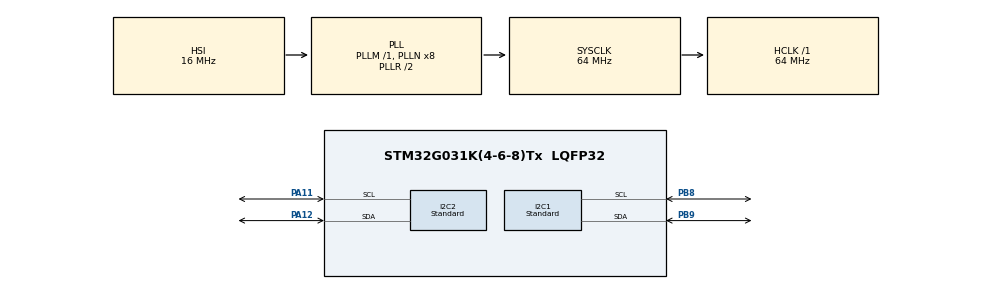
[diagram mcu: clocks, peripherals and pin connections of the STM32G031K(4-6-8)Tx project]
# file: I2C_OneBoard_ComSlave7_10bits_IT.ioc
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I2C1.AddressingMode=I2C_ADDRESSINGMODE_10BIT
I2C1.Analog_Filter=I2C_ANALOGFILTER_ENABLE
I2C1.CustomTiming=Enabled
I2C1.DualAddressMode=I2C_DUALADDRESS_DISABLE
I2C1.GeneralCallMode=I2C_GENERALCALL_DISABLE
I2C1.I2C_Speed_Mode=I2C_Standard
I2C1.NoStretchMode=I2C_NOSTRETCH_DISABLE
I2C1.OwnAddress=0
I2C1.Speed=100
I2C1.Timing=I2C_TIMING
I2C2.AddressingMode=I2C_ADDRESSINGMODE_10BIT
I2C2.Analog_Filter=I2C_ANALOGFILTER_ENABLE
I2C2.CustomTiming=Enabled
I2C2.DualAddressMode=I2C_DUALADDRESS_ENABLE
I2C2.GeneralCallMode=I2C_GENERALCALL_DISABLE
I2C2.I2C_Speed_Mode=I2C_Standard
I2C2.NoStretchMode=I2C_NOSTRETCH_DISABLE
I2C2.OwnAddress=I2C_SLAVE_ADDRESS1
I2C2.OwnAddress2=I2C_SLAVE_ADDRESS2
I2C2.OwnAddress2Masks=I2C_OA2_NOMASK
I2C2.Speed=100
I2C2.Timing=I2C_TIMING
Mcu.Family=STM32G0
Mcu.Name=STM32G031K(4-6-8)Tx
Mcu.Package=LQFP32
Mcu.UserConstants=I2C_SLAVE_ADDRESS1,0x13E;I2C_SLAVE_ADDRESS2,0xC8;I2C_TIMING,0x00A00F1B
PA11\ [PA9].GPIO_Pu=GPIO_PULLUP
PA11\ [PA9].Mode=I2C
PA11\ [PA9].Signal=I2C2_SCL
PA12\ [PA10].GPIO_Pu=GPIO_PULLUP
PA12\ [PA10].Mode=I2C
PA12\ [PA10].Signal=I2C2_SDA
PB8.GPIO_Pu=GPIO_PULLUP
PB8.Mode=I2C
PB8.Signal=I2C1_SCL
PB9.GPIO_Pu=GPIO_PULLUP
PB9.Mode=I2C
PB9.Signal=I2C1_SDA
ProjectManager.HeapSize=0x200
ProjectManager.StackSize=0x400
ProjectManager.TargetToolchain=EWARM V8.50
RCC.ADCFreq_Value=64000000
RCC.AHBFreq_Value=64000000
RCC.CortexFreq_Value=64000000
RCC.EXTERNAL_CLOCK_VALUE=48000000
RCC.HCLKFreq_Value=64000000
RCC.HSE_VALUE=8000000
RCC.HSI_VALUE=16000000
RCC.LSE_VALUE=32768
RCC.SYSCLKFreq_VALUE=64000000
RCC.SYSCLKSource=RCC_SYSCLKSOURCE_PLLCLK
RCC.VCOOutputFreq_Value=128000000
board=custom

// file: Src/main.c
/* USER CODE BEGIN Header */
/**
  ******************************************************************************
  * @file    Examples_MIX/I2C/I2C_OneBoard_ComSlave7_10bits_IT/Src/main.c
  * @author  MCD Application Team
  * @brief   This sample code shows how to use STM32G0xx I2C HAL and LL API
  *          to transmit and receive a data buffer with a communication process
  *          based on IT transfer.
  *          The communication is done using 1 Board.
  ******************************************************************************
  * @attention
  *
  * Copyright (c) 2019-2020 STMicroelectronics.
  * All rights reserved.
  *
  * This software is licensed under terms that can be found in the LICENSE file
  * in the root directory of this software component.
  * If no LICENSE file comes with this software, it is provided AS-IS.
  *
  ******************************************************************************
  */
/* USER CODE END Header */
#include "main.h"

I2C_HandleTypeDef hi2c1;
I2C_HandleTypeDef hi2c2;

/* USER CODE BEGIN PV */
/* Buffer used for transmission */
uint8_t aTxBuffer[] = " ****I2C_OneBoard communication based on IT****  ****I2C_OneBoard communication based on IT****  ****I2C_OneBoard communication based on IT**** ";

/* Buffer used for reception */
uint8_t aRxBuffer[RXBUFFERSIZE];
/* USER CODE END PV */

void SystemClock_Config(void);
static void MX_GPIO_Init(void);
static void MX_I2C1_Init(void);
static void MX_I2C2_Init(void);
/* USER CODE BEGIN PFP */
static uint16_t Buffercmp(uint8_t *pBuffer1, uint8_t *pBuffer2, uint16_t BufferLength);
static void Flush_Buffer(uint8_t* pBuffer, uint16_t BufferLength);
/* USER CODE END PFP */

int main(void)
{
  /* USER CODE BEGIN 1 */
  GPIO_InitTypeDef  GPIO_InitStruct;
  /* USER CODE END 1 */

  /* MCU Configuration--------------------------------------------------------*/

  /* Reset of all peripherals, Initializes the Flash interface and the Systick. */
  HAL_Init();

  /* Configure the system clock */
  SystemClock_Config();

  /* USER CODE BEGIN SysInit */
  /* Configure LED3 */
  BSP_LED_Init(LED3);
  /* USER CODE END SysInit */

  /* Initialize all configured peripherals */
  MX_GPIO_Init();
  MX_I2C1_Init();
  MX_I2C2_Init();
  /* USER CODE BEGIN 2 */

  /* Enable the Analog I2C Filter */
  HAL_I2CEx_ConfigAnalogFilter(&hi2c2,I2C_ANALOGFILTER_ENABLE);

  /* Enable the Analog I2C Filter */
  HAL_I2CEx_ConfigAnalogFilter(&hi2c2,I2C_ANALOGFILTER_ENABLE);

  /* Configure PA.15 (Arduino D2) */
  GPIO_InitStruct.Pin = GPIO_PIN_15;
  GPIO_InitStruct.Pull = GPIO_PULLUP;
  GPIO_InitStruct.Mode = GPIO_MODE_INPUT;
  GPIO_InitStruct.Speed = GPIO_SPEED_FREQ_VERY_HIGH;

  /* Enable GPIOA clock */
  __HAL_RCC_GPIOA_CLK_ENABLE();

  HAL_GPIO_Init(GPIOA, &GPIO_InitStruct);

  /* Wait Until PA.15 (Arduino D2) is connected to GND */
  while(HAL_GPIO_ReadPin(GPIOA, GPIO_PIN_15) != GPIO_PIN_RESET)
  {
  }
  /* Wait Until PA.15 (Arduino D2) is de-connected from GND */
  while(HAL_GPIO_ReadPin(GPIOA, GPIO_PIN_15) != GPIO_PIN_SET)
  {
  }

  /*##-3- Slave1 and Slave2 Receive process from master ####################*/
  /* Receive data through "aRxBuffer" buffer */
  while(HAL_I2C_Slave_Receive_IT(&hi2c2, (uint8_t*)&aRxBuffer, RXBUFFERSIZE)!= HAL_OK)
  {
  }

  /*##-4- Master Transmit process for Slave1 ###############################*/
  /* Transmit data through "aTxBuffer" buffer */
  while(HAL_I2C_Master_Transmit_IT(&hi2c1, (uint16_t)I2C_SLAVE_ADDRESS1, (uint8_t*)&aTxBuffer, TXBUFFERSIZE)!= HAL_OK)
  {
    /* Error_Handler() function is called when Timeout error occurs.
       When Acknowledge failure occurs (Slave don't acknowledge its address)
       Master restarts communication */
    if (HAL_I2C_GetError(&hi2c1) != HAL_I2C_ERROR_AF)
    {
      Error_Handler();
    }
  }

  /*##-5- Wait for the end of the transfer ###################################*/
  /*  Before starting a new communication transfer, you need to check the current
      state of the peripheral; if it's busy you need to wait for the end of current
      transfer before starting a new one.
      For simplicity reasons, this example is just waiting till the end of the
      transfer, but application may perform other tasks while transfer operation
      is ongoing. */
  while (HAL_I2C_GetState(&hi2c2) != HAL_I2C_STATE_READY)
  {
  }

  while (HAL_I2C_GetState(&hi2c1) != HAL_I2C_STATE_READY)
  {
  }

  /*##-6- Compare the sent and received buffers ##############################*/
  if(Buffercmp((uint8_t*)aTxBuffer, (uint8_t*)aRxBuffer, TXBUFFERSIZE))
  {
    /* Processing Error */
    Error_Handler();
  }

  /* Toggle LED3: Transfer in reception Slave1 process is correct */
  BSP_LED_Toggle(LED3);

  /* Flush Rx buffers */
  Flush_Buffer((uint8_t*)aRxBuffer,RXBUFFERSIZE);

  /* Wait Until PA.15 (Arduino D2) is connected to GND */
  while(HAL_GPIO_ReadPin(GPIOA, GPIO_PIN_15) != GPIO_PIN_RESET)
  {
  }
  /* Wait Until PA.15 (Arduino D2) is de-connected from GND */
  while(HAL_GPIO_ReadPin(GPIOA, GPIO_PIN_15) != GPIO_PIN_SET)
  {
  }

  /*##-7- Slave1 and Slave2 Transmit process for master ######################*/
  while(HAL_I2C_Slave_Transmit_IT(&hi2c2, (uint8_t*)&aTxBuffer, TXBUFFERSIZE)!= HAL_OK)
  {
  }

  /*##-8- Configure the I2C MASTER peripheral to discuss with Slave2 (7-Bit address) #*/
  /* Using LL interface, initializes directly the I2C MASTER peripheral in 7-Bit addressing mode*/
  LL_I2C_SetMasterAddressingMode(hi2c1.Instance, I2C_ADDRESSINGMODE_7BIT);

  /* Following code sequence is needed in order to keep I2C handle structure          */
  /* content in line with IP configuration                                            */
  hi2c1.Init.AddressingMode  = I2C_ADDRESSINGMODE_7BIT;

  /* Using HAL interface, following interface must be used :                          */
  /*  - HAL_I2C_DeInit() then HAL_I2C_Init() to deInitializes then Initializes        */
  /*  the I2C MASTER peripheral to perform an update of AddressingMode Init parameter */

  /*##-9- Put I2C peripheral in Reception process from Slave 2 ###############*/
  while(HAL_I2C_Master_Receive_IT(&hi2c1, (uint16_t)I2C_SLAVE_ADDRESS2, (uint8_t*)&aRxBuffer, TXBUFFERSIZE)!= HAL_OK)
  {
    /* Error_Handler() function is called when Timeout error occurs.
       When Acknowledge failure occurs (Slave don't acknowledge its address)
       Master restarts communication */
    if (HAL_I2C_GetError(&hi2c1) != HAL_I2C_ERROR_AF)
    {
      Error_Handler();
    }
  }

  /*##-10- Wait for the end of the transfer ##################################*/
  /*  Before starting a new communication transfer, you need to check the current
      state of the peripheral; if it's busy you need to wait for the end of current
      transfer before starting a new one.
      For simplicity reasons, this example is just waiting till the end of the
      transfer, but application may perform other tasks while transfer operation
      is ongoing. */
  while (HAL_I2C_GetState(&hi2c2) != HAL_I2C_STATE_READY)
  {
  }

  while (HAL_I2C_GetState(&hi2c1) != HAL_I2C_STATE_READY)
  {
  }

  /*##-11- Compare the sent and received buffers #############################*/
  if(Buffercmp((uint8_t*)aTxBuffer, (uint8_t*)aRxBuffer, TXBUFFERSIZE))
  {
    /* Processing Error */
    Error_Handler();
  }

  /* Toggle LED3: Transfer in Slave2 transmission process is correct */
  BSP_LED_Toggle(LED3);
  /* USER CODE END 2 */

  /* Infinite loop */
  while (1)
  {

  }
}

void SystemClock_Config(void)
{
  RCC_OscInitTypeDef RCC_OscInitStruct = {0};
  RCC_ClkInitTypeDef RCC_ClkInitStruct = {0};

  /** Configure the main internal regulator output voltage
  */
  HAL_PWREx_ControlVoltageScaling(PWR_REGULATOR_VOLTAGE_SCALE1);

  /** Initializes the RCC Oscillators according to the specified parameters
  * in the RCC_OscInitTypeDef structure.
  */
  RCC_OscInitStruct.OscillatorType = RCC_OSCILLATORTYPE_HSI;
  RCC_OscInitStruct.HSIState = RCC_HSI_ON;
  RCC_OscInitStruct.HSIDiv = RCC_HSI_DIV1;
  RCC_OscInitStruct.HSICalibrationValue = RCC_HSICALIBRATION_DEFAULT;
  RCC_OscInitStruct.PLL.PLLState = RCC_PLL_ON;
  RCC_OscInitStruct.PLL.PLLSource = RCC_PLLSOURCE_HSI;
  RCC_OscInitStruct.PLL.PLLM = RCC_PLLM_DIV1;
  RCC_OscInitStruct.PLL.PLLN = 8;
  RCC_OscInitStruct.PLL.PLLP = RCC_PLLP_DIV2;
  RCC_OscInitStruct.PLL.PLLQ = RCC_PLLQ_DIV2;
  RCC_OscInitStruct.PLL.PLLR = RCC_PLLR_DIV2;
  if (HAL_RCC_OscConfig(&RCC_OscInitStruct) != HAL_OK)
  {
    Error_Handler();
  }

  /** Initializes the CPU, AHB and APB buses clocks
  */
  RCC_ClkInitStruct.ClockType = RCC_CLOCKTYPE_HCLK|RCC_CLOCKTYPE_SYSCLK
                              |RCC_CLOCKTYPE_PCLK1;
  RCC_ClkInitStruct.SYSCLKSource = RCC_SYSCLKSOURCE_PLLCLK;
  RCC_ClkInitStruct.AHBCLKDivider = RCC_SYSCLK_DIV1;
  RCC_ClkInitStruct.APB1CLKDivider = RCC_HCLK_DIV1;

  if (HAL_RCC_ClockConfig(&RCC_ClkInitStruct, FLASH_LATENCY_2) != HAL_OK)
  {
    Error_Handler();
  }
}

static void MX_I2C1_Init(void)
{

  hi2c1.Instance = I2C1;
  hi2c1.Init.Timing = I2C_TIMING;
  hi2c1.Init.OwnAddress1 = 0;
  hi2c1.Init.AddressingMode = I2C_ADDRESSINGMODE_10BIT;
  hi2c1.Init.DualAddressMode = I2C_DUALADDRESS_DISABLE;
  hi2c1.Init.OwnAddress2 = 0;
  hi2c1.Init.OwnAddress2Masks = I2C_OA2_NOMASK;
  hi2c1.Init.GeneralCallMode = I2C_GENERALCALL_DISABLE;
  hi2c1.Init.NoStretchMode = I2C_NOSTRETCH_DISABLE;
  if (HAL_I2C_Init(&hi2c1) != HAL_OK)
  {
    Error_Handler();
  }

  /** Configure Analogue filter
  */
  if (HAL_I2CEx_ConfigAnalogFilter(&hi2c1, I2C_ANALOGFILTER_ENABLE) != HAL_OK)
  {
    Error_Handler();
  }

  /** Configure Digital filter
  */
  if (HAL_I2CEx_ConfigDigitalFilter(&hi2c1, 0) != HAL_OK)
  {
    Error_Handler();
  }

}

static void MX_I2C2_Init(void)
{

  hi2c2.Instance = I2C2;
  hi2c2.Init.Timing = I2C_TIMING;
  hi2c2.Init.OwnAddress1 = I2C_SLAVE_ADDRESS1;
  hi2c2.Init.AddressingMode = I2C_ADDRESSINGMODE_10BIT;
  hi2c2.Init.DualAddressMode = I2C_DUALADDRESS_ENABLE;
  hi2c2.Init.OwnAddress2 = I2C_SLAVE_ADDRESS2;
  hi2c2.Init.OwnAddress2Masks = I2C_OA2_NOMASK;
  hi2c2.Init.GeneralCallMode = I2C_GENERALCALL_DISABLE;
  hi2c2.Init.NoStretchMode = I2C_NOSTRETCH_DISABLE;
  if (HAL_I2C_Init(&hi2c2) != HAL_OK)
  {
    Error_Handler();
  }

  /** Configure Analogue filter
  */
  if (HAL_I2CEx_ConfigAnalogFilter(&hi2c2, I2C_ANALOGFILTER_ENABLE) != HAL_OK)
  {
    Error_Handler();
  }

  /** Configure Digital filter
  */
  if (HAL_I2CEx_ConfigDigitalFilter(&hi2c2, 0) != HAL_OK)
  {
    Error_Handler();
  }

}

static void MX_GPIO_Init(void)
{

  /* GPIO Ports Clock Enable */
  __HAL_RCC_GPIOB_CLK_ENABLE();
  __HAL_RCC_GPIOA_CLK_ENABLE();

}

/* USER CODE BEGIN 4 */

/**
  * @brief  Compares two buffers.
  * @param  pBuffer1, pBuffer2: buffers to be compared.
  * @param  BufferLength: buffer's length
  * @retval 0  : pBuffer1 identical to pBuffer2
  *         >0 : pBuffer1 differs from pBuffer2
  */
static uint16_t Buffercmp(uint8_t* pBuffer1, uint8_t* pBuffer2, uint16_t BufferLength)
{
  while (BufferLength--)
  {
    if ((*pBuffer1) != *pBuffer2)
    {
      return BufferLength;
    }
    pBuffer1++;
    pBuffer2++;
  }

  return 0;
}

/**
  * @brief  Flushes the buffer
  * @param  pBuffer: buffers to be flushed.
  * @param  BufferLength: buffer's length
  * @retval None
  */
static void Flush_Buffer(uint8_t* pBuffer, uint16_t BufferLength)
{
  while (BufferLength--)
  {
    *pBuffer = 0;

    pBuffer++;
  }
}

/**
  * @brief  I2C error callbacks.
  * @param  I2cHandle: I2C handle
  * @note   This example shows a simple way to report transfer error, and you can
  *         add your own implementation.
  * @retval None
  */
void HAL_I2C_ErrorCallback(I2C_HandleTypeDef *I2cHandle)
{
  Error_Handler();
}

/* USER CODE END 4 */

void Error_Handler(void)
{
  /* USER CODE BEGIN Error_Handler_Debug */
  /* User can add his own implementation to report the HAL error return state */
  /* Error if LED3 is slowly blinking (1 sec. period) */
  while(1)
  {
    BSP_LED_Toggle(LED3);
    HAL_Delay(1000);
  }
  /* USER CODE END Error_Handler_Debug */
}
